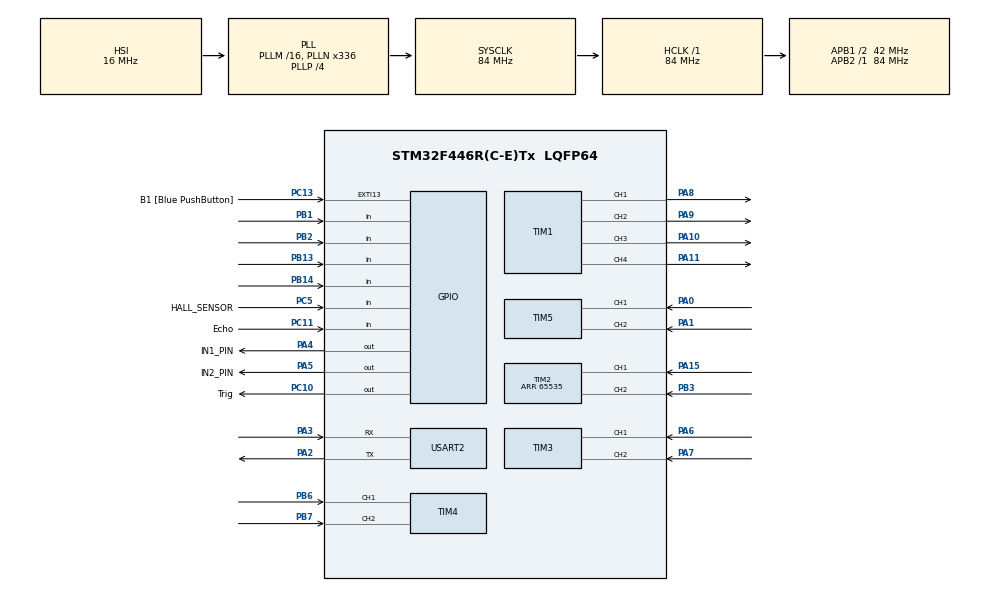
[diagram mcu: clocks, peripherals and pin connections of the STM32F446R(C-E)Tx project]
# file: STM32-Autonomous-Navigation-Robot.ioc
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Mcu.Family=STM32F4
Mcu.Name=STM32F446R(C-E)Tx
Mcu.Package=LQFP64
NVIC.PriorityGroup=NVIC_PRIORITYGROUP_0
PA0-WKUP.Signal=S_TIM5_CH1
PA1.Signal=S_TIM5_CH2
PA10.Signal=S_TIM1_CH3
PA11.Signal=S_TIM1_CH4
PA13.GPIO_Label=TMS
PA13.Mode=Serial_Wire
PA13.Signal=SYS_JTMS-SWDIO
PA14.GPIO_Label=TCK
PA14.Mode=Serial_Wire
PA14.Signal=SYS_JTCK-SWCLK
PA15.Signal=S_TIM2_CH1_ETR
PA2.Mode=Asynchronous
PA2.Signal=USART2_TX
PA3.Mode=Asynchronous
PA3.Signal=USART2_RX
PA4.GPIO_Label=IN1_PIN
PA4.Signal=GPIO_Output
PA5.GPIO_Label=IN2_PIN
PA5.Signal=GPIO_Output
PA6.Signal=S_TIM3_CH1
PA7.Signal=S_TIM3_CH2
PA8.Signal=S_TIM1_CH1
PA9.Signal=S_TIM1_CH2
PB1.Signal=GPIO_Input
PB13.Signal=GPIO_Input
PB14.Signal=GPIO_Input
PB2.Signal=GPIO_Input
PB3.Signal=S_TIM2_CH2
PB6.Signal=S_TIM4_CH1
PB7.Signal=S_TIM4_CH2
PC10.GPIO_Label=Trig
PC10.Signal=GPIO_Output
PC11.GPIO_Label=Echo
PC11.Signal=GPIO_Input
PC13.GPIO_Label=B1 [Blue PushButton]
PC13.GPIO_ModeDefaultEXTI=GPIO_MODE_IT_FALLING
PC13.Signal=GPXTI13
PC14-OSC32_IN.Mode=LSE-External-Oscillator
PC14-OSC32_IN.Signal=RCC_OSC32_IN
PC15-OSC32_OUT.Mode=LSE-External-Oscillator
PC15-OSC32_OUT.Signal=RCC_OSC32_OUT
PC5.GPIO_Label=HALL_SENSOR
PC5.Signal=GPIO_Input
PH0-OSC_IN.Mode=HSE-External-Oscillator
PH0-OSC_IN.Signal=RCC_OSC_IN
PH1-OSC_OUT.Mode=HSE-External-Oscillator
PH1-OSC_OUT.Signal=RCC_OSC_OUT
ProjectManager.HeapSize=0x200
ProjectManager.StackSize=0x400
ProjectManager.TargetToolchain=STM32CubeIDE
RCC.48MHZClocksFreq_Value=84000000
RCC.AHBFreq_Value=84000000
RCC.APB1CLKDivider=RCC_HCLK_DIV2
RCC.APB1Freq_Value=42000000
RCC.APB1TimFreq_Value=84000000
RCC.APB2Freq_Value=84000000
RCC.APB2TimFreq_Value=84000000
RCC.CortexFreq_Value=84000000
RCC.FLatency-AdvancedSettings=FLASH_LATENCY_2
RCC.HCLKFreq_Value=84000000
RCC.HSE_VALUE=8000000
RCC.HSI_VALUE=16000000
RCC.PLLN=336
RCC.PLLP=RCC_PLLP_DIV4
RCC.SYSCLKFreq_VALUE=84000000
RCC.SYSCLKSource=RCC_SYSCLKSOURCE_PLLCLK
RCC.USBFreq_Value=168000000
RCC.VCOOutputFreq_Value=336000000
SH.S_TIM1_CH1.0=TIM1_CH1,PWM Generation1 CH1
SH.S_TIM1_CH2.0=TIM1_CH2,PWM Generation2 CH2
SH.S_TIM1_CH3.0=TIM1_CH3,PWM Generation3 CH3
SH.S_TIM1_CH4.0=TIM1_CH4,PWM Generation4 CH4
SH.S_TIM2_CH1_ETR.0=TIM2_CH1,Encoder_Interface
SH.S_TIM2_CH2.0=TIM2_CH2,Encoder_Interface
SH.S_TIM3_CH1.0=TIM3_CH1,Encoder_Interface
SH.S_TIM3_CH2.0=TIM3_CH2,Encoder_Interface
SH.S_TIM4_CH1.0=TIM4_CH1,Encoder_Interface
SH.S_TIM4_CH2.0=TIM4_CH2,Encoder_Interface
SH.S_TIM5_CH1.0=TIM5_CH1,Encoder_Interface
SH.S_TIM5_CH2.0=TIM5_CH2,Encoder_Interface
TIM1.Channel-PWM\ Generation1\ CH1=TIM_CHANNEL_1
TIM1.Channel-PWM\ Generation2\ CH2=TIM_CHANNEL_2
TIM1.Channel-PWM\ Generation3\ CH3=TIM_CHANNEL_3
TIM1.Channel-PWM\ Generation4\ CH4=TIM_CHANNEL_4
TIM2.EncoderMode=TIM_ENCODERMODE_TI12
TIM2.Period=65535
TIM3.EncoderMode=TIM_ENCODERMODE_TI12
TIM4.EncoderMode=TIM_ENCODERMODE_TI12
TIM5.EncoderMode=TIM_ENCODERMODE_TI12
USART2.VirtualMode=VM_ASYNC
VP_TIM1_VS_ClockSourceINT.Mode=Internal
board=NUCLEO-F446RE

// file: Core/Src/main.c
/* USER CODE BEGIN Header */
/**
  ******************************************************************************
  * @file           : main.c
  * @brief          : Main program body
  ******************************************************************************
  */
/* USER CODE END Header */
#include "main.h"

/* USER CODE BEGIN Includes */
#include "motor.h"
#include "sensor.h"
#include <stdio.h> // 解決 printf 隱式宣告警告
/* USER CODE END Includes */

/* USER CODE BEGIN PD */
#define BASE_SPEED 600
#define TURN_SPEED 450
#define AVOID_DIST 15.0
/* USER CODE END PD */

TIM_HandleTypeDef htim1;
TIM_HandleTypeDef htim2;
TIM_HandleTypeDef htim3;
TIM_HandleTypeDef htim4;
TIM_HandleTypeDef htim5;

UART_HandleTypeDef huart2;

void SystemClock_Config(void);
static void MX_GPIO_Init(void);
static void MX_TIM2_Init(void);
static void MX_TIM3_Init(void);
static void MX_TIM1_Init(void);
static void MX_TIM4_Init(void);
static void MX_TIM5_Init(void);
static void MX_USART2_UART_Init(void);

/* USER CODE BEGIN 0 */
// 覆寫 _write 函式，將 printf 導向 USART2 (ST-Link 虛擬序列埠) 供 Tera Term 讀取
int _write(int file, char *ptr, int len) {
    HAL_UART_Transmit(&huart2, (uint8_t*)ptr, len, HAL_MAX_DELAY);
    return len;
}
/* USER CODE END 0 */

int main(void)
{

  /* MCU Configuration--------------------------------------------------------*/

  /* Reset of all peripherals, Initializes the Flash interface and the Systick. */
  HAL_Init();

  /* Configure the system clock */
  SystemClock_Config();

  /* Initialize all configured peripherals */
  MX_GPIO_Init();
  MX_TIM2_Init();
  MX_TIM3_Init();
  MX_TIM1_Init();
  MX_TIM4_Init();
  MX_TIM5_Init();
  MX_USART2_UART_Init();
  /* USER CODE BEGIN 2 */
  // 1. 啟動 TIM1 的 4 個 PWM 通道控制馬達速度
  HAL_TIM_PWM_Start(&htim1, TIM_CHANNEL_1);
  HAL_TIM_PWM_Start(&htim1, TIM_CHANNEL_2);
  HAL_TIM_PWM_Start(&htim1, TIM_CHANNEL_3);
  HAL_TIM_PWM_Start(&htim1, TIM_CHANNEL_4);

  // 2. 啟動 4 個輪子的硬體編碼器模式
  HAL_TIM_Encoder_Start(&htim2, TIM_CHANNEL_ALL); // 左前輪
  HAL_TIM_Encoder_Start(&htim5, TIM_CHANNEL_ALL); // 右前輪
  HAL_TIM_Encoder_Start(&htim4, TIM_CHANNEL_ALL); // 左後輪
  HAL_TIM_Encoder_Start(&htim3, TIM_CHANNEL_ALL); // 右後輪

  printf("Encoder Monitor Started Successfully!\r\n");
  /* USER CODE END 2 */

  /* Infinite loop */
  /* USER CODE BEGIN WHILE */
  while (1)
  {
      // 讀取 4 顆輪子編碼器的當前累積脈衝數值
      int32_t count_FL = __HAL_TIM_GET_COUNTER(&htim2); // 左前
      int32_t count_FR = __HAL_TIM_GET_COUNTER(&htim5); // 右前
      int32_t count_RL = __HAL_TIM_GET_COUNTER(&htim4); // 左後
      int32_t count_RR = __HAL_TIM_GET_COUNTER(&htim3); // 右後

      // 透過序列埠輸出數值至 Tera Term 監看
      printf("FL:%4ld | FR:%4ld | RL:%4ld | RR:%4ld\r\n", count_FL, count_FR, count_RL, count_RR);

      HAL_Delay(200); // 延遲 200ms 避免畫面洗版過快
    /* USER CODE END WHILE */

  }
}

void SystemClock_Config(void)
{
  RCC_OscInitTypeDef RCC_OscInitStruct = {0};
  RCC_ClkInitTypeDef RCC_ClkInitStruct = {0};

  /** Configure the main internal regulator output voltage
  */
  __HAL_RCC_PWR_CLK_ENABLE();
  __HAL_PWR_VOLTAGESCALING_CONFIG(PWR_REGULATOR_VOLTAGE_SCALE3);

  /** Initializes the RCC Oscillators according to the specified parameters
  * in the RCC_OscInitTypeDef structure.
  */
  RCC_OscInitStruct.OscillatorType = RCC_OSCILLATORTYPE_HSI;
  RCC_OscInitStruct.HSIState = RCC_HSI_ON;
  RCC_OscInitStruct.HSICalibrationValue = RCC_HSICALIBRATION_DEFAULT;
  RCC_OscInitStruct.PLL.PLLState = RCC_PLL_ON;
  RCC_OscInitStruct.PLL.PLLSource = RCC_PLLSOURCE_HSI;
  RCC_OscInitStruct.PLL.PLLM = 16;
  RCC_OscInitStruct.PLL.PLLN = 336;
  RCC_OscInitStruct.PLL.PLLP = RCC_PLLP_DIV4;
  RCC_OscInitStruct.PLL.PLLQ = 2;
  RCC_OscInitStruct.PLL.PLLR = 2;
  if (HAL_RCC_OscConfig(&RCC_OscInitStruct) != HAL_OK)
  {
    Error_Handler();
  }

  /** Initializes the CPU, AHB and APB buses clocks
  */
  RCC_ClkInitStruct.ClockType = RCC_CLOCKTYPE_HCLK|RCC_CLOCKTYPE_SYSCLK
                              |RCC_CLOCKTYPE_PCLK1|RCC_CLOCKTYPE_PCLK2;
  RCC_ClkInitStruct.SYSCLKSource = RCC_SYSCLKSOURCE_PLLCLK;
  RCC_ClkInitStruct.AHBCLKDivider = RCC_SYSCLK_DIV1;
  RCC_ClkInitStruct.APB1CLKDivider = RCC_HCLK_DIV2;
  RCC_ClkInitStruct.APB2CLKDivider = RCC_HCLK_DIV1;

  if (HAL_RCC_ClockConfig(&RCC_ClkInitStruct, FLASH_LATENCY_2) != HAL_OK)
  {
    Error_Handler();
  }
}

static void MX_TIM1_Init(void)
{

  TIM_ClockConfigTypeDef sClockSourceConfig = {0};
  TIM_MasterConfigTypeDef sMasterConfig = {0};
  TIM_OC_InitTypeDef sConfigOC = {0};
  TIM_BreakDeadTimeConfigTypeDef sBreakDeadTimeConfig = {0};

  htim1.Instance = TIM1;
  htim1.Init.Prescaler = 0;
  htim1.Init.CounterMode = TIM_COUNTERMODE_UP;
  htim1.Init.Period = 65535;
  htim1.Init.ClockDivision = TIM_CLOCKDIVISION_DIV1;
  htim1.Init.RepetitionCounter = 0;
  htim1.Init.AutoReloadPreload = TIM_AUTORELOAD_PRELOAD_DISABLE;
  if (HAL_TIM_Base_Init(&htim1) != HAL_OK)
  {
    Error_Handler();
  }
  sClockSourceConfig.ClockSource = TIM_CLOCKSOURCE_INTERNAL;
  if (HAL_TIM_ConfigClockSource(&htim1, &sClockSourceConfig) != HAL_OK)
  {
    Error_Handler();
  }
  if (HAL_TIM_PWM_Init(&htim1) != HAL_OK)
  {
    Error_Handler();
  }
  sMasterConfig.MasterOutputTrigger = TIM_TRGO_RESET;
  sMasterConfig.MasterSlaveMode = TIM_MASTERSLAVEMODE_DISABLE;
  if (HAL_TIMEx_MasterConfigSynchronization(&htim1, &sMasterConfig) != HAL_OK)
  {
    Error_Handler();
  }
  sConfigOC.OCMode = TIM_OCMODE_PWM1;
  sConfigOC.Pulse = 0;
  sConfigOC.OCPolarity = TIM_OCPOLARITY_HIGH;
  sConfigOC.OCNPolarity = TIM_OCNPOLARITY_HIGH;
  sConfigOC.OCFastMode = TIM_OCFAST_DISABLE;
  sConfigOC.OCIdleState = TIM_OCIDLESTATE_RESET;
  sConfigOC.OCNIdleState = TIM_OCNIDLESTATE_RESET;
  if (HAL_TIM_PWM_ConfigChannel(&htim1, &sConfigOC, TIM_CHANNEL_1) != HAL_OK)
  {
    Error_Handler();
  }
  if (HAL_TIM_PWM_ConfigChannel(&htim1, &sConfigOC, TIM_CHANNEL_2) != HAL_OK)
  {
    Error_Handler();
  }
  if (HAL_TIM_PWM_ConfigChannel(&htim1, &sConfigOC, TIM_CHANNEL_3) != HAL_OK)
  {
    Error_Handler();
  }
  if (HAL_TIM_PWM_ConfigChannel(&htim1, &sConfigOC, TIM_CHANNEL_4) != HAL_OK)
  {
    Error_Handler();
  }
  sBreakDeadTimeConfig.OffStateRunMode = TIM_OSSR_DISABLE;
  sBreakDeadTimeConfig.OffStateIDLEMode = TIM_OSSI_DISABLE;
  sBreakDeadTimeConfig.LockLevel = TIM_LOCKLEVEL_OFF;
  sBreakDeadTimeConfig.DeadTime = 0;
  sBreakDeadTimeConfig.BreakState = TIM_BREAK_DISABLE;
  sBreakDeadTimeConfig.BreakPolarity = TIM_BREAKPOLARITY_HIGH;
  sBreakDeadTimeConfig.AutomaticOutput = TIM_AUTOMATICOUTPUT_DISABLE;
  if (HAL_TIMEx_ConfigBreakDeadTime(&htim1, &sBreakDeadTimeConfig) != HAL_OK)
  {
    Error_Handler();
  }
  HAL_TIM_MspPostInit(&htim1);

}

static void MX_TIM2_Init(void)
{

  TIM_Encoder_InitTypeDef sConfig = {0};
  TIM_MasterConfigTypeDef sMasterConfig = {0};

  htim2.Instance = TIM2;
  htim2.Init.Prescaler = 0;
  htim2.Init.CounterMode = TIM_COUNTERMODE_UP;
  htim2.Init.Period = 65535;
  htim2.Init.ClockDivision = TIM_CLOCKDIVISION_DIV1;
  htim2.Init.AutoReloadPreload = TIM_AUTORELOAD_PRELOAD_DISABLE;
  sConfig.EncoderMode = TIM_ENCODERMODE_TI12;
  sConfig.IC1Polarity = TIM_ICPOLARITY_RISING;
  sConfig.IC1Selection = TIM_ICSELECTION_DIRECTTI;
  sConfig.IC1Prescaler = TIM_ICPSC_DIV1;
  sConfig.IC1Filter = 0;
  sConfig.IC2Polarity = TIM_ICPOLARITY_RISING;
  sConfig.IC2Selection = TIM_ICSELECTION_DIRECTTI;
  sConfig.IC2Prescaler = TIM_ICPSC_DIV1;
  sConfig.IC2Filter = 0;
  if (HAL_TIM_Encoder_Init(&htim2, &sConfig) != HAL_OK)
  {
    Error_Handler();
  }
  sMasterConfig.MasterOutputTrigger = TIM_TRGO_RESET;
  sMasterConfig.MasterSlaveMode = TIM_MASTERSLAVEMODE_DISABLE;
  if (HAL_TIMEx_MasterConfigSynchronization(&htim2, &sMasterConfig) != HAL_OK)
  {
    Error_Handler();
  }

}

static void MX_TIM3_Init(void)
{

  TIM_Encoder_InitTypeDef sConfig = {0};
  TIM_MasterConfigTypeDef sMasterConfig = {0};

  htim3.Instance = TIM3;
  htim3.Init.Prescaler = 0;
  htim3.Init.CounterMode = TIM_COUNTERMODE_UP;
  htim3.Init.Period = 65535;
  htim3.Init.ClockDivision = TIM_CLOCKDIVISION_DIV1;
  htim3.Init.AutoReloadPreload = TIM_AUTORELOAD_PRELOAD_DISABLE;
  sConfig.EncoderMode = TIM_ENCODERMODE_TI12;
  sConfig.IC1Polarity = TIM_ICPOLARITY_RISING;
  sConfig.IC1Selection = TIM_ICSELECTION_DIRECTTI;
  sConfig.IC1Prescaler = TIM_ICPSC_DIV1;
  sConfig.IC1Filter = 0;
  sConfig.IC2Polarity = TIM_ICPOLARITY_RISING;
  sConfig.IC2Selection = TIM_ICSELECTION_DIRECTTI;
  sConfig.IC2Prescaler = TIM_ICPSC_DIV1;
  sConfig.IC2Filter = 0;
  if (HAL_TIM_Encoder_Init(&htim3, &sConfig) != HAL_OK)
  {
    Error_Handler();
  }
  sMasterConfig.MasterOutputTrigger = TIM_TRGO_RESET;
  sMasterConfig.MasterSlaveMode = TIM_MASTERSLAVEMODE_DISABLE;
  if (HAL_TIMEx_MasterConfigSynchronization(&htim3, &sMasterConfig) != HAL_OK)
  {
    Error_Handler();
  }

}

static void MX_TIM4_Init(void)
{

  TIM_Encoder_InitTypeDef sConfig = {0};
  TIM_MasterConfigTypeDef sMasterConfig = {0};

  htim4.Instance = TIM4;
  htim4.Init.Prescaler = 0;
  htim4.Init.CounterMode = TIM_COUNTERMODE_UP;
  htim4.Init.Period = 65535;
  htim4.Init.ClockDivision = TIM_CLOCKDIVISION_DIV1;
  htim4.Init.AutoReloadPreload = TIM_AUTORELOAD_PRELOAD_DISABLE;
  sConfig.EncoderMode = TIM_ENCODERMODE_TI12;
  sConfig.IC1Polarity = TIM_ICPOLARITY_RISING;
  sConfig.IC1Selection = TIM_ICSELECTION_DIRECTTI;
  sConfig.IC1Prescaler = TIM_ICPSC_DIV1;
  sConfig.IC1Filter = 0;
  sConfig.IC2Polarity = TIM_ICPOLARITY_RISING;
  sConfig.IC2Selection = TIM_ICSELECTION_DIRECTTI;
  sConfig.IC2Prescaler = TIM_ICPSC_DIV1;
  sConfig.IC2Filter = 0;
  if (HAL_TIM_Encoder_Init(&htim4, &sConfig) != HAL_OK)
  {
    Error_Handler();
  }
  sMasterConfig.MasterOutputTrigger = TIM_TRGO_RESET;
  sMasterConfig.MasterSlaveMode = TIM_MASTERSLAVEMODE_DISABLE;
  if (HAL_TIMEx_MasterConfigSynchronization(&htim4, &sMasterConfig) != HAL_OK)
  {
    Error_Handler();
  }

}

static void MX_TIM5_Init(void)
{

  TIM_Encoder_InitTypeDef sConfig = {0};
  TIM_MasterConfigTypeDef sMasterConfig = {0};

  htim5.Instance = TIM5;
  htim5.Init.Prescaler = 0;
  htim5.Init.CounterMode = TIM_COUNTERMODE_UP;
  htim5.Init.Period = 4294967295;
  htim5.Init.ClockDivision = TIM_CLOCKDIVISION_DIV1;
  htim5.Init.AutoReloadPreload = TIM_AUTORELOAD_PRELOAD_DISABLE;
  sConfig.EncoderMode = TIM_ENCODERMODE_TI12;
  sConfig.IC1Polarity = TIM_ICPOLARITY_RISING;
  sConfig.IC1Selection = TIM_ICSELECTION_DIRECTTI;
  sConfig.IC1Prescaler = TIM_ICPSC_DIV1;
  sConfig.IC1Filter = 0;
  sConfig.IC2Polarity = TIM_ICPOLARITY_RISING;
  sConfig.IC2Selection = TIM_ICSELECTION_DIRECTTI;
  sConfig.IC2Prescaler = TIM_ICPSC_DIV1;
  sConfig.IC2Filter = 0;
  if (HAL_TIM_Encoder_Init(&htim5, &sConfig) != HAL_OK)
  {
    Error_Handler();
  }
  sMasterConfig.MasterOutputTrigger = TIM_TRGO_RESET;
  sMasterConfig.MasterSlaveMode = TIM_MASTERSLAVEMODE_DISABLE;
  if (HAL_TIMEx_MasterConfigSynchronization(&htim5, &sMasterConfig) != HAL_OK)
  {
    Error_Handler();
  }

}

static void MX_USART2_UART_Init(void)
{

  huart2.Instance = USART2;
  huart2.Init.BaudRate = 115200;
  huart2.Init.WordLength = UART_WORDLENGTH_8B;
  huart2.Init.StopBits = UART_STOPBITS_1;
  huart2.Init.Parity = UART_PARITY_NONE;
  huart2.Init.Mode = UART_MODE_TX_RX;
  huart2.Init.HwFlowCtl = UART_HWCONTROL_NONE;
  huart2.Init.OverSampling = UART_OVERSAMPLING_16;
  if (HAL_UART_Init(&huart2) != HAL_OK)
  {
    Error_Handler();
  }

}

static void MX_GPIO_Init(void)
{
  GPIO_InitTypeDef GPIO_InitStruct = {0};

  /* GPIO Ports Clock Enable */
  __HAL_RCC_GPIOC_CLK_ENABLE();
  __HAL_RCC_GPIOH_CLK_ENABLE();
  __HAL_RCC_GPIOA_CLK_ENABLE();
  __HAL_RCC_GPIOB_CLK_ENABLE();

  /*Configure GPIO pin Output Level */
  HAL_GPIO_WritePin(GPIOA, IN1_PIN_Pin|IN2_PIN_Pin, GPIO_PIN_RESET);

  /*Configure GPIO pin Output Level */
  HAL_GPIO_WritePin(Trig_GPIO_Port, Trig_Pin, GPIO_PIN_RESET);

  /*Configure GPIO pin : B1_Pin */
  GPIO_InitStruct.Pin = B1_Pin;
  GPIO_InitStruct.Mode = GPIO_MODE_IT_FALLING;
  GPIO_InitStruct.Pull = GPIO_NOPULL;
  HAL_GPIO_Init(B1_GPIO_Port, &GPIO_InitStruct);

  /*Configure GPIO pins : IN1_PIN_Pin IN2_PIN_Pin */
  GPIO_InitStruct.Pin = IN1_PIN_Pin|IN2_PIN_Pin;
  GPIO_InitStruct.Mode = GPIO_MODE_OUTPUT_PP;
  GPIO_InitStruct.Pull = GPIO_NOPULL;
  GPIO_InitStruct.Speed = GPIO_SPEED_FREQ_LOW;
  HAL_GPIO_Init(GPIOA, &GPIO_InitStruct);

  /*Configure GPIO pins : HALL_SENSOR_Pin Echo_Pin */
  GPIO_InitStruct.Pin = HALL_SENSOR_Pin|Echo_Pin;
  GPIO_InitStruct.Mode = GPIO_MODE_INPUT;
  GPIO_InitStruct.Pull = GPIO_NOPULL;
  HAL_GPIO_Init(GPIOC, &GPIO_InitStruct);

  /*Configure GPIO pins : PB1 PB2 PB13 PB14 */
  GPIO_InitStruct.Pin = GPIO_PIN_1|GPIO_PIN_2|GPIO_PIN_13|GPIO_PIN_14;
  GPIO_InitStruct.Mode = GPIO_MODE_INPUT;
  GPIO_InitStruct.Pull = GPIO_NOPULL;
  HAL_GPIO_Init(GPIOB, &GPIO_InitStruct);

  /*Configure GPIO pin : Trig_Pin */
  GPIO_InitStruct.Pin = Trig_Pin;
  GPIO_InitStruct.Mode = GPIO_MODE_OUTPUT_PP;
  GPIO_InitStruct.Pull = GPIO_NOPULL;
  GPIO_InitStruct.Speed = GPIO_SPEED_FREQ_LOW;
  HAL_GPIO_Init(Trig_GPIO_Port, &GPIO_InitStruct);

}

void Error_Handler(void)
{
  __disable_irq();
  while (1)
  {
  }
}
